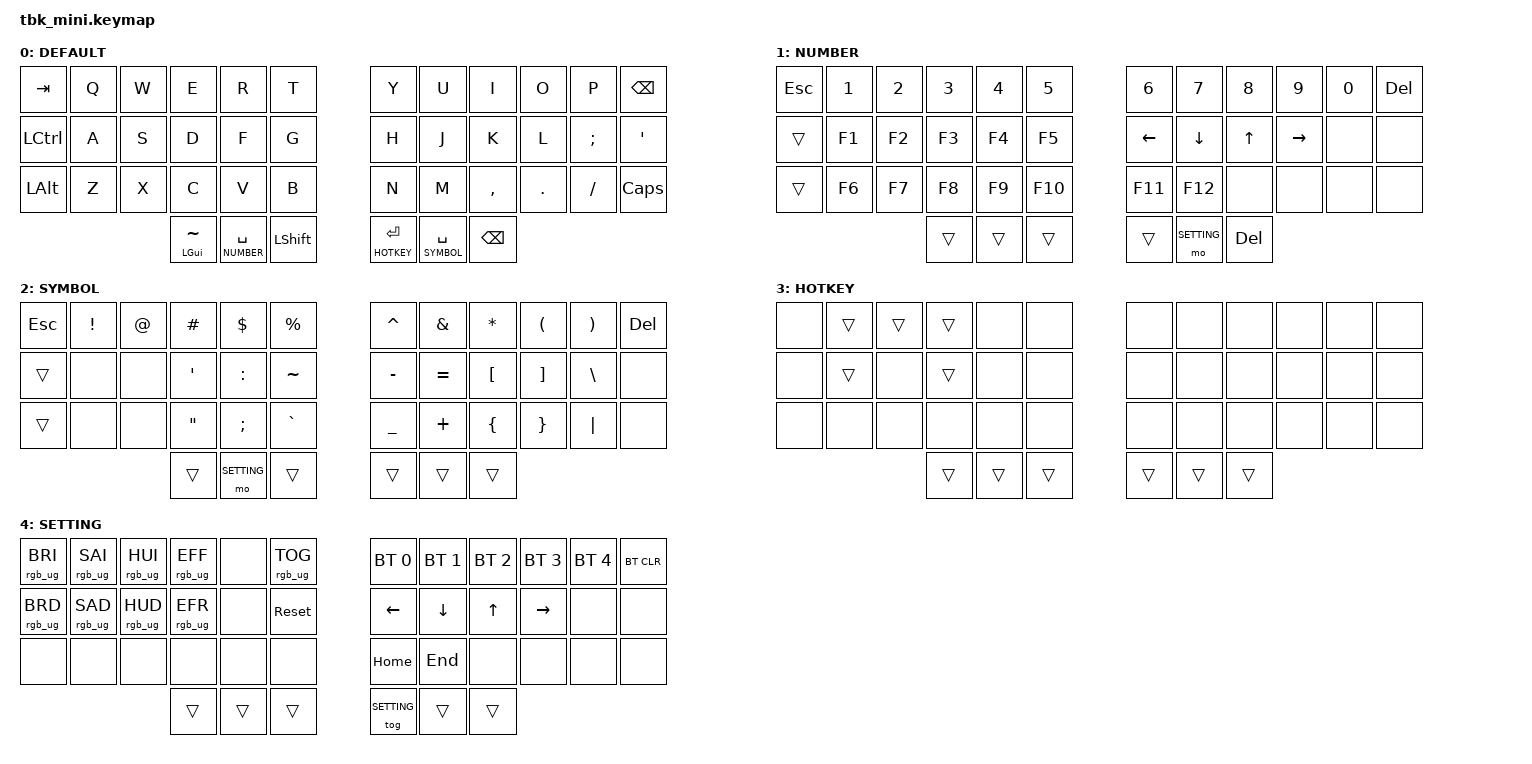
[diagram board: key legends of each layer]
/*
 * Copyright (c) 2020 The ZMK Contributors
 *
 * SPDX-License-Identifier: MIT
 */

#include <behaviors.dtsi>
#include <dt-bindings/zmk/bt.h>
#include <dt-bindings/zmk/keys.h>
#include <dt-bindings/zmk/rgb.h>

#define DEFAULT 0
#define NUMBER  1
#define SYMBOL  2
#define HOTKEY  3
#define SETTING 4

/ {
    macros {
    };

    keymap {
        compatible = "zmk,keymap";

        // -----------------------------------------------------------------------------------------
        // | TAB |  Q  |  W  |  E  |  R       |  T  |     |  Y  |  U        |  I  |  O  |  P  |   BKSP    |
        // | CTL |  A  |  S  |  D  |  F       |  G  |     |  H  |  J        |  K  |  L  |  ;  |     '     |
        // | ALT |  Z  |  X  |  C  |  V       |  B  |     |  N  |  M        |  ,  |  .  |  /  | SHFT/CLCK |
        //                    | GUI/~ | NUM/SPC | SHIFT |     | HTK/ENT | SYM/SPC  | GUI/BSPC |

        default_layer {
            label = "DEFAULT";
            bindings = <
&kp TAB    &kp Q  &kp W  &kp E           &kp R             &kp T      &kp Y           &kp U             &kp I      &kp O    &kp P     &kp BSPC
&kp LCTRL  &kp A  &kp S  &kp D           &kp F             &kp G      &kp H           &kp J             &kp K      &kp L    &kp SEMI  &kp SQT
&kp LALT   &kp Z  &kp X  &kp C           &kp V             &kp B      &kp N           &kp M             &kp COMMA  &kp DOT  &kp FSLH  &kp CLCK
                         &mt LGUI TILDE  &lt NUMBER SPACE  &kp LSHFT  &lt HOTKEY RET  &lt SYMBOL SPACE  &kp BSPC
            >;
        };

        // -----------------------------------------------------------------------------------------
        // | ESC |  1  |  2  |  3  |  4  |  5  |   |  6  |  7  |  8  |  9  |  0  | DEL |
        // | CTL |  F1 |  F2 |  F3 | F4  |  F5 |   |  ←  |  ↓  |  ↑  |  →  |     |     |
        // | ALT |  F6 |  F7 |  F8 | F9  | F10 |   | F12 | F11 |     |     |     |     |
        //                   |     |     |     |   | SET |     |     |

        number_layer {
            label = "NUMBER";
            bindings = <
&kp ESC  &kp N1  &kp N2  &kp N3  &kp N4  &kp N5   &kp N6    &kp N7       &kp N8   &kp N9     &kp N0  &kp DEL
&trans   &kp F1  &kp F2  &kp F3  &kp F4  &kp F5   &kp LEFT  &kp DOWN     &kp UP   &kp RIGHT  &none   &none
&trans   &kp F6  &kp F7  &kp F8  &kp F9  &kp F10  &kp F11   &kp F12      &none    &none      &none   &none
                         &trans  &trans  &trans   &trans    &mo SETTING  &kp DEL
            >;
        };

        // -----------------------------------------------------------------------------------------
        // | ESC  |  !  |  @  |  #  |  $  |  %  |     |  ^   |  &   |  *   |  (   |  )  | DEL |
        // |      |     |     |  "  |  :  |  ~  |     |  -   |  =   |  [   |  ]   |  \  |     |
        // |      |     |     |  '  |  ;  |  `  |     |  _   |  +   |  {   |  }   | "|" |     |
        //                    |     | SET |     |     |      |      |      |

        symbol_layer {
            label = "SYMBOL";
            bindings = <
&kp ESC  &kp EXCL  &kp AT  &kp HASH  &kp DLLR     &kp PRCNT  &kp CARET  &kp AMPS   &kp STAR  &kp LPAR  &kp RPAR  &kp DEL
&trans   &none     &none   &kp SQT   &kp COLON    &kp TILDE  &kp MINUS  &kp EQUAL  &kp LBKT  &kp RBKT  &kp BSLH  &none
&trans   &none     &none   &kp DQT   &kp SEMI     &kp GRAVE  &kp UNDER  &kp PLUS   &kp LBRC  &kp RBRC  &kp PIPE  &none
                           &trans    &mo SETTING  &trans     &trans     &trans     &trans
            >;
        };

        // -----------------------------------------------------------------------------------------
        // |   |   |   |   |   |   |     |   |   |   |   |   |   |
        // |   |   |   |   |   |   |     |   |   |   |   |   |   |
        // |   |   |   |   |   |   |     |   |   |   |   |   |   |
        //             |     |     |     |     |     |

        hotkey_layer {
            label = "HOTKEY";
            bindings = <
&none  &trans  &trans  &trans   &none   &none   &none   &none   &none  &none  &none  &none
&none  &trans  &none   &trans   &none   &none   &none   &none   &none  &none  &none  &none
&none  &none   &none   &none    &none   &none   &none   &none   &none  &none  &none  &none
                    &trans  &trans  &trans  &trans  &trans  &trans
            >;
        };

        // -----------------------------------------------------------------------------------------
        // | RGB BRI+ | RGB SAT+ | RGB HUE+ | RGB ANI+ | | RGB TOG |     |  BT1  | BT2 | BT3 | BT4 | BT5 | BT CLR |
        // | RGB BRI- | RGB SAT- | RGB HUE- | RGB ANI- | |         |     |       |     |     |     |     |        |
        // |          |          |          |          | |         |     | RESET |     |     |     |     |        |
        //                                  |          | |         |     |       |     |     |

        setting_layer {
            label = "SETTING";
            bindings = <
&rgb_ug RGB_BRI  &rgb_ug RGB_SAI  &rgb_ug RGB_HUI  &rgb_ug RGB_EFF  &none   &rgb_ug RGB_TOG  &bt BT_SEL 0  &bt BT_SEL 1  &bt BT_SEL 2  &bt BT_SEL 3  &bt BT_SEL 4  &bt BT_CLR
&rgb_ug RGB_BRD  &rgb_ug RGB_SAD  &rgb_ug RGB_HUD  &rgb_ug RGB_EFR  &none   &sys_reset       &kp LEFT      &kp DOWN      &kp UP        &kp RIGHT     &none         &none
&none            &none            &none            &none            &none   &none            &kp HOME      &kp END       &none         &none         &none         &none
                                                   &trans           &trans  &trans           &tog SETTING  &trans        &trans
            >;
        };
    };
};
